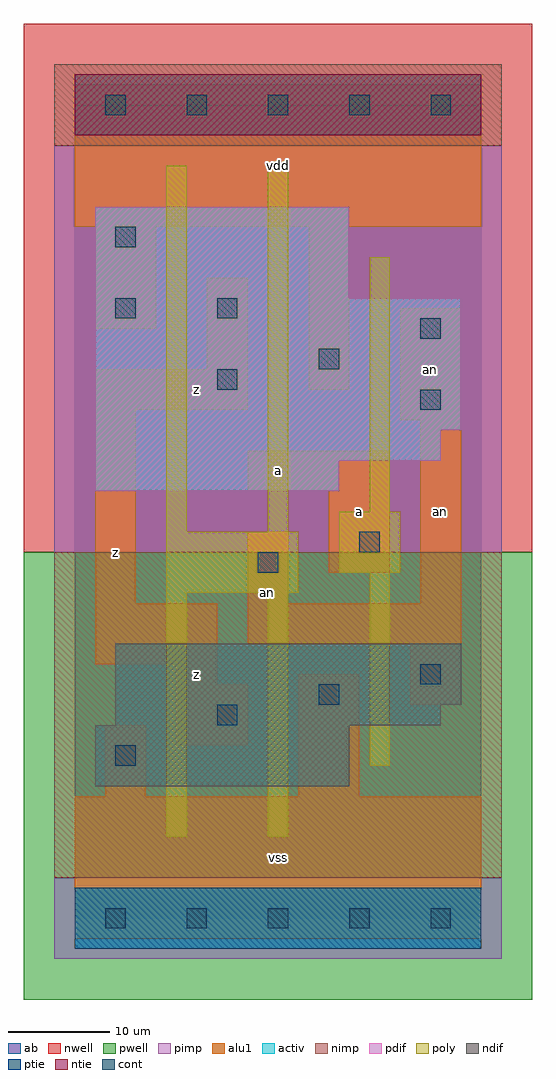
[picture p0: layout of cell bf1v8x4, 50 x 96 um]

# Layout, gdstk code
import gdstk
lib = gdstk.Library(unit=1e-6, precision=1e-09)
def R(c, l, rs):  # rectangles x0, y0, x1, y1
    for r in rs: c.add(gdstk.rectangle(r[:2], r[2:], *l))
def A(c, l, x, y, w, h, nx, ny, dx, dy):  # array of equal rectangles
    R(c, l, [(x+i*dx, y+j*dy, x+i*dx+w, y+j*dy+h) for i in range(nx) for j in range(ny)])
ndif = (3, 0)
pdif = (4, 0)
ntie = (5, 0)
ptie = (6, 0)
cont = (25, 0)
pwell = (41, 0)
nwell = (42, 0)
activ = (43, 0)
pimp = (44, 0)
nimp = (45, 0)
poly = (46, 0)
alu1 = (49, 0)
ab = (63, 0)

bf1v8x4 = lib.new_cell('bf1v8x4')
R(bf1v8x4, ndif, [(2,13,27,19), (4,19,36,21), (4,21,38,27)])
R(bf1v8x4, pdif, [(2,42,26,45), (2,45,36,48), (2,48,38,61), (2,61,27,70)])
R(bf1v8x4, ntie, [(0,77,40,83)])
R(bf1v8x4, ptie, [(0,-3,40,3)])
A(bf1v8x4, cont, 3, -1, 2, 2, 5, 2, 8, 80)
R(bf1v8x4, cont, [(4,15,6,17), (14,19,16,21), (24,21,26,23), (34,23,36,25), (18,34,20,36), (28,36,30,38), (34,50,36,52), (14,52,16,54), (24,54,26,56), (34,57,36,59), (4,59,6,61), (14,59,16,61), (4,66,6,68)])
R(bf1v8x4, pwell, [(-5,-8,45,36)])
R(bf1v8x4, nwell, [(-5,36,45,88)])
R(bf1v8x4, activ, [(0,-3,40,3), (2,13,27,19), (4,19,36,21), (4,21,38,27), (2,42,26,45), (2,45,36,48), (2,48,38,61), (2,61,27,70), (0,77,40,83)])
R(bf1v8x4, pimp, [(-2,-4,42,4), (-2,36,42,76)])
R(bf1v8x4, nimp, [(-2,4,42,36), (-2,76,42,84)])
R(bf1v8x4, poly, [(9,8,11,32), (19,8,21,32), (29,15,31,34), (9,32,22,38), (26,34,32,40), (9,38,11,74), (19,38,21,74), (29,40,31,65)])
R(bf1v8x4, alu1, [(0,-2,40,12), (3,12,7,19), (22,12,28,24), (10,17,17,23), (33,21,38,27), (10,23,14,25), (2,25,14,31), (17,27,38,31), (2,31,6,50), (17,31,21,38), (34,31,38,49), (25,34,31,42), (17,42,31,46), (32,49,38,60), (2,50,17,54), (23,52,27,68), (13,54,17,63), (2,58,8,68), (0,68,40,82)])
R(bf1v8x4, ab, [(0,0,40,80)])
bf1v8x4.add(gdstk.Label('an', (19,32), layer=49, texttype=0))
bf1v8x4.add(gdstk.Label('an', (36,40), layer=49, texttype=0))
bf1v8x4.add(gdstk.Label('an', (35,54), layer=49, texttype=0))
bf1v8x4.add(gdstk.Label('z', (4,36), layer=49, texttype=0))
bf1v8x4.add(gdstk.Label('z', (12,24), layer=49, texttype=0))
bf1v8x4.add(gdstk.Label('z', (12,52), layer=49, texttype=0))
bf1v8x4.add(gdstk.Label('vss', (20,6), layer=49, texttype=0))
bf1v8x4.add(gdstk.Label('a', (28,40), layer=49, texttype=0))
bf1v8x4.add(gdstk.Label('a', (20,44), layer=49, texttype=0))
bf1v8x4.add(gdstk.Label('vdd', (20,74), layer=49, texttype=0))

lib.write_gds('bf1v8x4.gds')
